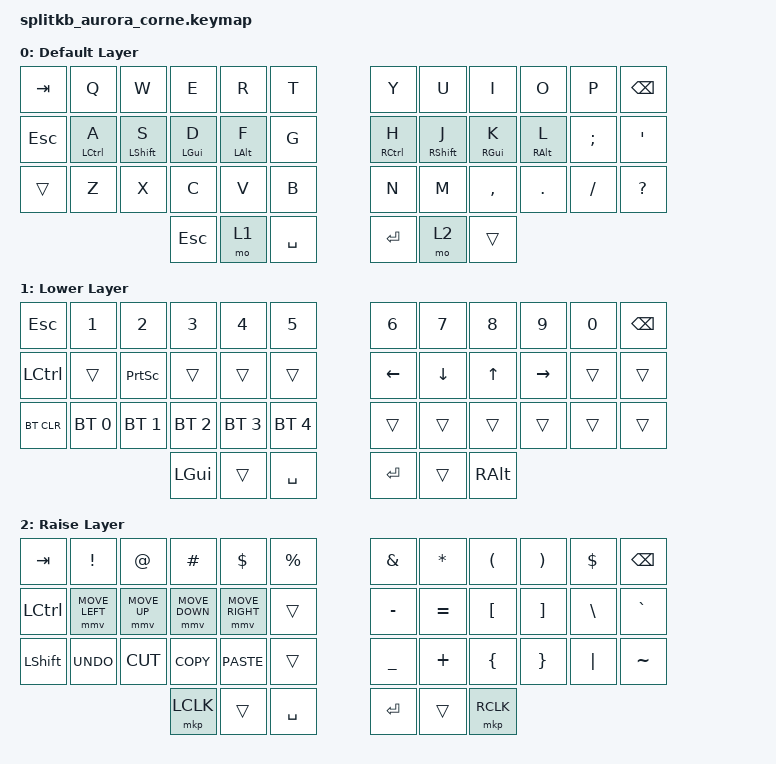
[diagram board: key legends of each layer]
#include <behaviors.dtsi>
#include <dt-bindings/zmk/keys.h>
#include <dt-bindings/zmk/bt.h>
#include <dt-bindings/zmk/pointing.h>
#define ZMK_POINTING_DEFAULT_MOVE_VAL 600 // default: 600
#define ZMK_POINTING_DEFAULT_SCRL_VAL 10    // default: 10


/ {
  behaviors {
      qmk_mt: qmk_mod_tap {
          compatible = "zmk,behavior-hold-tap";
          label = "QMK_MOD_TAP";
          #binding-cells = <2>;
          flavor = "tap-preferred";    // This is the QMK default logic
          tapping-term-ms = <200>;     // Standard QMK TAPPING_TERM
          quick-tap-ms = <200>;          // QMK doesn't have this by default
          bindings = <&kp>, <&kp>;
      };
  };
  keymap {

            zmk,backlight = &backlight;
            compatible = "zmk,keymap";
            default_layer {
                        display-name = "Default Layer";
                        bindings = <
   &kp TAB  &kp Q         &kp W         &kp E       &kp R       &kp T   &kp Y         &kp U        &kp I        &kp O        &kp P      &kp BSPC
   &kp ESC  &qmk_mt LCTRL A   &qmk_mt LSHFT S   &qmk_mt LGUI D  &qmk_mt LALT F  &kp G   &qmk_mt RCTRL H   &qmk_mt RSHFT J  &qmk_mt RGUI K   &qmk_mt RALT L   &kp SEMI   &kp SQT
   &trans   &kp Z         &kp X         &kp C       &kp V       &kp B   &kp N         &kp M        &kp COMMA    &kp DOT      &kp FSLH   &kp QUESTION
                          &kp ESC       &mo 1       &kp SPACE   &kp RET &mo 2         &trans
                        >;
                };
                lower_layer {
                        display-name = "Lower Layer";
                        bindings = <
   &kp ESC      &kp N1         &kp N2         &kp N3        &kp N4        &kp N5        &kp N6    &kp N7     &kp N8   &kp N9     &kp N0   &kp BSPC
   &kp LCTRL    &trans         &kp PSCRN      &trans        &trans        &trans        &kp LEFT  &kp DOWN   &kp UP   &kp RIGHT  &trans   &trans
   &bt BT_CLR   &bt BT_SEL 0   &bt BT_SEL 1   &bt BT_SEL 2  &bt BT_SEL 3  &bt BT_SEL 4  &trans    &trans     &trans   &trans     &trans   &trans
                                              &kp LGUI      &trans        &kp SPACE     &kp RET   &trans     &kp RALT
                        >;
                };

                raise_layer {
                        display-name = "Raise Layer";
                        bindings = <
   &kp TAB    &kp EXCL        &kp AT        &kp HASH        &kp DLLR         &kp PRCNT   &kp AMPS  &kp ASTRK  &kp LPAR  &kp RPAR  &kp DLLR   &kp BSPC
   &kp LCTRL  &mmv MOVE_LEFT  &mmv MOVE_UP  &mmv MOVE_DOWN  &mmv MOVE_RIGHT  &trans      &kp MINUS  &kp EQUAL &kp LBKT   &kp RBKT  &kp BSLH  &kp GRAVE
   &kp LSHFT  &kp K_UNDO      &kp K_CUT     &kp K_COPY      &kp K_PASTE      &trans      &kp UNDER  &kp PLUS  &kp LBRC   &kp RBRC  &kp PIPE  &kp TILDE
                                            &mkp LCLK       &trans           &kp SPACE   &kp RET    &trans    &mkp RCLK
                        >;
                };
       };
};
